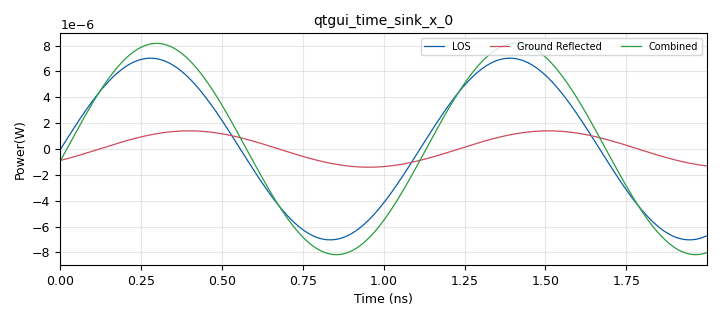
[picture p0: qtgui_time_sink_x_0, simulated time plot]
<?xml version='1.0' encoding='utf-8'?>
<?grc format='1' created='3.7.14'?>
<flow_graph>
<block>
<key>options</key>
<param><key>id</key><value>top_block</value></param>
<param><key>generate_options</key><value>qt_gui</value></param>
</block>
<block>
<key>variable</key>
<param><key>id</key><value>GR_delay</value></param>
<param><key>value</key><value>GR_distance/scipy.constants.c</value></param>
</block>
<block>
<key>variable</key>
<param><key>id</key><value>GR_distance</value></param>
<param><key>value</key><value>numpy.sqrt(numpy.square(ant_hight_t+ant_hight_r)+numpy.square(distance))</value></param>
</block>
<block>
<key>variable</key>
<param><key>id</key><value>LOS_delay</value></param>
<param><key>value</key><value>LOS_distance/scipy.constants.c</value></param>
</block>
<block>
<key>variable</key>
<param><key>id</key><value>LOS_distance</value></param>
<param><key>value</key><value>numpy.sqrt(numpy.square(ant_gain_t-ant_gain_r)+numpy.square(distance))</value></param>
</block>
<block>
<key>variable</key>
<param><key>id</key><value>ant_gain_r</value></param>
<param><key>value</key><value>1</value></param>
</block>
<block>
<key>variable</key>
<param><key>id</key><value>ant_gain_t</value></param>
<param><key>value</key><value>1</value></param>
</block>
<block>
<key>variable</key>
<param><key>id</key><value>ant_hight_r</value></param>
<param><key>value</key><value>10</value></param>
</block>
<block>
<key>variable</key>
<param><key>id</key><value>ant_hight_t</value></param>
<param><key>value</key><value>10</value></param>
</block>
<block>
<key>variable_qtgui_range</key>
<param><key>id</key><value>distance</value></param>
<param><key>value</key><value>10</value></param>
<param><key>gui_hint</key><value>(0,1,1,1)</value></param>
<param><key>orient</key><value>Qt.Horizontal</value></param>
<param><key>start</key><value>10</value></param>
<param><key>step</key><value>10</value></param>
<param><key>stop</key><value>15000</value></param>
</block>
<block>
<key>variable_qtgui_range</key>
<param><key>id</key><value>frequency</value></param>
<param><key>value</key><value>900000000</value></param>
<param><key>gui_hint</key><value>(0,2,1,1)</value></param>
<param><key>orient</key><value>Qt.Horizontal</value></param>
<param><key>start</key><value>1</value></param>
<param><key>step</key><value>100</value></param>
<param><key>stop</key><value>6000000000</value></param>
</block>
<block>
<key>variable</key>
<param><key>id</key><value>samp_rate</value></param>
<param><key>value</key><value>512000000000</value></param>
</block>
<block>
<key>variable</key>
<param><key>id</key><value>wavelen</value></param>
<param><key>value</key><value>scipy.constants.c/frequency</value></param>
</block>
<block>
<key>analog_sig_source_x</key>
<param><key>id</key><value>analog_sig_source_x_0</value></param>
<param><key>amp</key><value>1</value></param>
<param><key>freq</key><value>frequency</value></param>
<param><key>offset</key><value>0</value></param>
<param><key>type</key><value>float</value></param>
<param><key>samp_rate</key><value>samp_rate</value></param>
<param><key>waveform</key><value>analog.GR_SIN_WAVE</value></param>
</block>
<block>
<key>blocks_add_xx</key>
<param><key>id</key><value>blocks_add_xx_0</value></param>
<param><key>type</key><value>float</value></param>
</block>
<block>
<key>blocks_delay</key>
<param><key>id</key><value>blocks_delay_0</value></param>
<param><key>delay</key><value>int(LOS_delay*samp_rate)</value></param>
<param><key>type</key><value>float</value></param>
</block>
<block>
<key>blocks_delay</key>
<param><key>id</key><value>blocks_delay_GR</value></param>
<param><key>delay</key><value>int(GR_delay*samp_rate)</value></param>
<param><key>type</key><value>float</value></param>
</block>
<block>
<key>blocks_multiply_const_vxx</key>
<param><key>id</key><value>blocks_multiply_const_vxx_0</value></param>
<param><key>const</key><value>ant_gain_t*ant_gain_r*numpy.square(wavelen/(4*(numpy.pi)*LOS_distance))</value></param>
<param><key>type</key><value>float</value></param>
</block>
<block>
<key>blocks_multiply_const_vxx</key>
<param><key>id</key><value>blocks_multiply_const_vxx_0_0</value></param>
<param><key>const</key><value>ant_gain_t*ant_gain_r*numpy.square(wavelen/(4*(numpy.pi)*GR_distance))</value></param>
<param><key>type</key><value>float</value></param>
</block>
<block>
<key>import</key>
<param><key>id</key><value>import</value></param>
<param><key>import</key><value>import scipy.constants</value></param>
</block>
<block>
<key>import</key>
<param><key>id</key><value>import_0</value></param>
<param><key>import</key><value>import numpy</value></param>
</block>
<block>
<key>qtgui_time_sink_x</key>
<param><key>id</key><value>qtgui_time_sink_x_0</value></param>
<param><key>autoscale</key><value>True</value></param>
<param><key>ctrlpanel</key><value>True</value></param>
<param><key>gui_hint</key><value>(0,3,5,5)</value></param>
<param><key>grid</key><value>True</value></param>
<param><key>color1</key><value>"blue"</value></param>
<param><key>label1</key><value>LOS</value></param>
<param><key>color2</key><value>"red"</value></param>
<param><key>label2</key><value>Ground Reflected</value></param>
<param><key>color3</key><value>"green"</value></param>
<param><key>label3</key><value>Combined</value></param>
<param><key>nconnections</key><value>3</value></param>
<param><key>size</key><value>1024</value></param>
<param><key>srate</key><value>samp_rate</value></param>
<param><key>tr_mode</key><value>qtgui.TRIG_MODE_AUTO</value></param>
<param><key>type</key><value>float</value></param>
<param><key>ylabel</key><value>Power(W)</value></param>
</block>
<connection><source_block_id>analog_sig_source_x_0</source_block_id><sink_block_id>blocks_delay_0</sink_block_id><source_key>0</source_key><sink_key>0</sink_key></connection>
<connection><source_block_id>analog_sig_source_x_0</source_block_id><sink_block_id>blocks_delay_GR</sink_block_id><source_key>0</source_key><sink_key>0</sink_key></connection>
<connection><source_block_id>blocks_add_xx_0</source_block_id><sink_block_id>qtgui_time_sink_x_0</sink_block_id><source_key>0</source_key><sink_key>2</sink_key></connection>
<connection><source_block_id>blocks_delay_0</source_block_id><sink_block_id>blocks_multiply_const_vxx_0</sink_block_id><source_key>0</source_key><sink_key>0</sink_key></connection>
<connection><source_block_id>blocks_delay_GR</source_block_id><sink_block_id>blocks_multiply_const_vxx_0_0</sink_block_id><source_key>0</source_key><sink_key>0</sink_key></connection>
<connection><source_block_id>blocks_multiply_const_vxx_0</source_block_id><sink_block_id>blocks_add_xx_0</sink_block_id><source_key>0</source_key><sink_key>0</sink_key></connection>
<connection><source_block_id>blocks_multiply_const_vxx_0</source_block_id><sink_block_id>qtgui_time_sink_x_0</sink_block_id><source_key>0</source_key><sink_key>0</sink_key></connection>
<connection><source_block_id>blocks_multiply_const_vxx_0_0</source_block_id><sink_block_id>blocks_add_xx_0</sink_block_id><source_key>0</source_key><sink_key>1</sink_key></connection>
<connection><source_block_id>blocks_multiply_const_vxx_0_0</source_block_id><sink_block_id>qtgui_time_sink_x_0</sink_block_id><source_key>0</source_key><sink_key>1</sink_key></connection>
</flow_graph>
